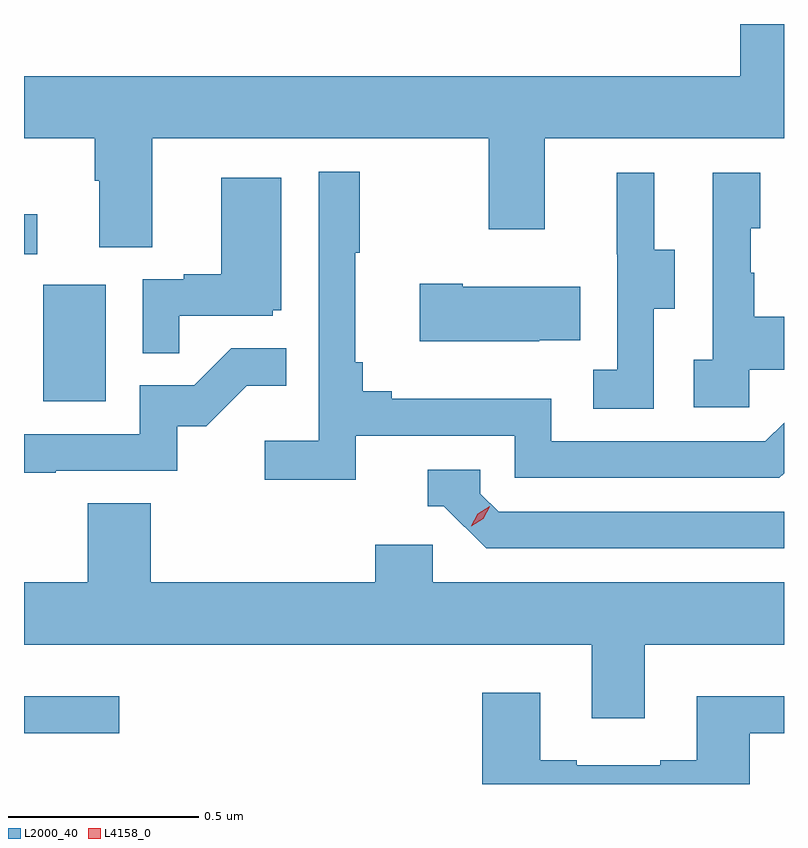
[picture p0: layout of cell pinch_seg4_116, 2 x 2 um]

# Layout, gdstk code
import gdstk
lib = gdstk.Library(unit=1e-6, precision=1e-09)
def R(c, l, rs):  # rectangles x0, y0, x1, y1
    for r in rs: c.add(gdstk.rectangle(r[:2], r[2:], *l))
def P(c, l, *ps):  # polygons
    for p in ps: c.add(gdstk.Polygon(p, *l))
L2000_40 = (2000, 40)
L4158_0 = (4158, 0)

pinch_seg4_116 = lib.new_cell('pinch_seg4_116')
R(pinch_seg4_116, L2000_40, [(1057.931,804.579,1058.182,804.676), (1057.982,805.452,1058.146,805.759), (1057.931,805.839,1057.966,805.945)])
P(pinch_seg4_116, L2000_40, [(1058.269,806.144),(1059.154,806.144),(1059.154,805.905),(1059.301,805.905),(1059.301,806.144),(1059.931,806.144),(1059.931,806.445),(1059.816,806.445),(1059.816,806.308),(1057.931,806.308),(1057.931,806.144),(1058.117,806.144),(1058.117,806.032),(1058.129,806.032),(1058.129,805.858),(1058.269,805.858)],
  [(1058.804,805.362),(1059.222,805.362),(1059.222,805.251),(1059.919,805.251),(1059.931,805.263),(1059.931,805.396),(1059.882,805.347),(1059.318,805.347),(1059.318,805.459),(1058.899,805.459),(1058.899,805.478),(1058.822,805.478),(1058.822,805.555),(1058.803,805.555),(1058.803,805.843),(1058.815,805.843),(1058.815,806.056),(1058.706,806.056),(1058.706,805.348),(1058.565,805.348),(1058.565,805.246),(1058.804,805.246)],
  [(1059.588,805.696),(1059.643,805.696),(1059.643,805.851),(1059.589,805.851),(1059.589,806.053),(1059.491,806.053),(1059.491,805.839),(1059.492,805.839),(1059.492,805.535),(1059.429,805.535),(1059.429,805.432),(1059.588,805.432)],
  [(1059.84,805.535),(1059.931,805.535),(1059.931,805.675),(1059.853,805.675),(1059.853,805.79),(1059.843,805.79),(1059.843,805.908),(1059.868,805.908),(1059.868,806.053),(1059.744,806.053),(1059.744,805.562),(1059.693,805.562),(1059.693,805.437),(1059.84,805.437)],
  [(1058.339,805.677),(1058.586,805.677),(1058.586,805.692),(1058.608,805.692),(1058.608,806.041),(1058.45,806.041),(1058.45,805.786),(1058.351,805.786),(1058.351,805.773),(1058.244,805.773),(1058.244,805.579),(1058.339,805.579)],
  [(1059.287,805.613),(1059.395,805.613),(1059.395,805.753),(1059.085,805.753),(1059.085,805.761),(1058.973,805.761),(1058.973,805.61),(1059.287,805.61)],
  [(1058.015,805.269),(1058.334,805.269),(1058.334,805.386),(1058.41,805.386),(1058.517,805.493),(1058.621,805.493),(1058.621,805.592),(1058.477,805.592),(1058.379,805.494),(1058.235,805.494),(1058.235,805.365),(1057.931,805.365),(1057.931,805.264),(1058.015,805.264)],
  [(1059.931,805.161),(1059.18,805.161),(1059.132,805.209),(1059.132,805.272),(1058.993,805.272),(1058.993,805.176),(1059.036,805.176),(1059.147,805.065),(1059.931,805.065)],
  [(1059.565,804.812),(1059.931,804.812),(1059.931,804.976),(1059.006,804.976),(1059.006,805.074),(1058.855,805.074),(1058.855,804.976),(1058.264,804.976),(1058.264,805.184),(1058.099,805.184),(1058.099,804.976),(1057.931,804.976),(1057.931,804.812),(1059.425,804.812),(1059.425,804.618),(1059.565,804.618)],
  [(1059.841,804.579),(1059.931,804.579),(1059.931,804.676),(1059.701,804.676),(1059.701,804.508),(1059.605,804.508),(1059.605,804.495),(1059.385,804.495),(1059.385,804.508),(1059.289,804.508),(1059.289,804.685),(1059.137,804.685),(1059.137,804.445),(1059.841,804.445)])
P(pinch_seg4_116, L4158_0, [(1059.108,805.123),(1059.108,805.124),(1059.125,805.156),(1059.156,805.176),(1059.156,805.176),(1059.156,805.175),(1059.139,805.143),(1059.108,805.123)])

lib.write_gds('pinch_seg4_116.gds')
